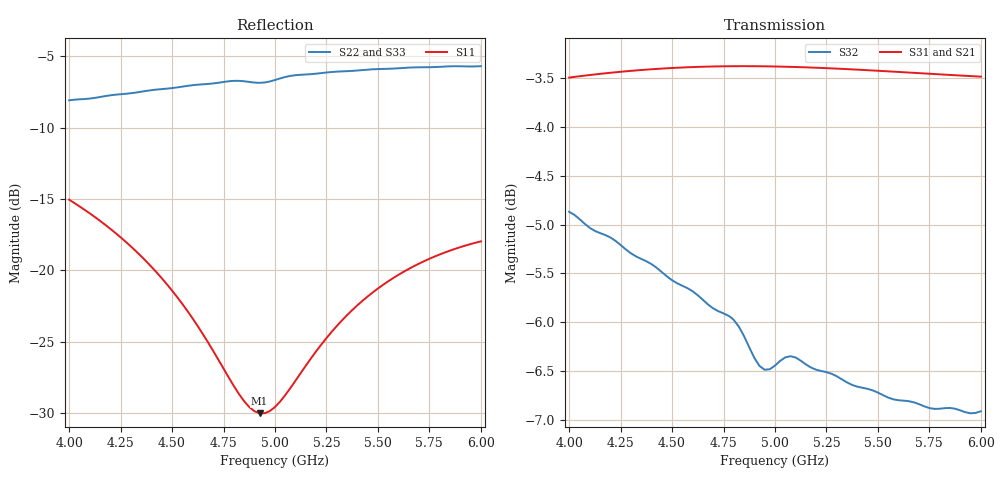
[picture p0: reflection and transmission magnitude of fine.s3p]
! yapnr rf: divider-osh-w-star-guard, footprint re-simulated (refine 2)
! spec sha256 e4db8864f030bccbe07fd0aef6c4ce0263ca7f087c5833f028f36e104ebddd66
! 3 ports renormalized to 50 ohm, e^(+jwt) convention
# GHz S RI R 50
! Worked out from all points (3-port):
!   85 points, 4 GHz to 6 GHz, reference 50 ohm
!   strongest paths, dB at 4 GHz, 4.5 GHz, 5 GHz, 5.5 GHz, 6 GHz:
!     S31: -3.5, -3.4, -3.4, -3.4, -3.5
!     S21: -3.5, -3.4, -3.4, -3.4, -3.5
!     S32: -4.9, -5.6, -6.4, -6.7, -6.9
!   lowest |S11| = -30.0 dB at 4.925 GHz (marker M1), VSWR 1.07, Z = 52.7 - j1.73 ohm
!   |S11| at or under -10 dB: start of sweep to end of sweep
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4  0.0299 0.1742  -0.6466 -0.1721  -0.6466 -0.1721
   -0.6464 -0.1727  0.3243 -0.2233  -0.4423 0.3611
   -0.6464 -0.1727  -0.4423 0.3611  0.3243 -0.2233
4.425  0.0556 0.0812  -0.6732 0.0537  -0.6732 0.0537
       -0.6739 0.0525  0.2067 -0.3764  -0.2525 0.471
       -0.6739 0.0525  -0.2525 0.471  0.2067 -0.3764
4.6  0.0521 0.0435  -0.66 0.1483  -0.66 0.1483
     -0.6612 0.1471  0.1416 -0.4218  -0.1719 0.4906
     -0.6612 0.1471  -0.1719 0.4906  0.1416 -0.4218
4.85  0.0346 -0.00411  -0.6168 0.2783  -0.6168 0.2783
      -0.6188 0.2774  0.0289 -0.4583  -0.0531 0.49
      -0.6188 0.2774  -0.0531 0.49  0.0289 -0.4583
4.925  0.027 -0.0164  -0.5984 0.3152  -0.5984 0.3152
       -0.6007 0.3145  0.00405 -0.4534  -0.0297 0.475
       -0.6007 0.3145  -0.0297 0.475  0.00405 -0.4534
5  0.0186 -0.0276  -0.5778 0.3509  -0.5778 0.3509
   -0.5803 0.3503  -0.0142 -0.4636  -0.0143 0.476
   -0.5803 0.3503  -0.0143 0.476  -0.0142 -0.4636
5.275  -0.0172 -0.0584  -0.4841 0.4685  -0.4841 0.4685
       -0.4872 0.4691  -0.1412 -0.4742  0.0933 0.4622
       -0.4872 0.4691  0.0933 0.4622  -0.1412 -0.4742
5.45  -0.0416 -0.0696  -0.4119 0.5308  -0.4119 0.5308
      -0.4151 0.5322  -0.2161 -0.4556  0.1518 0.4377
      -0.4151 0.5322  0.1518 0.4377  -0.2161 -0.4556
5.7  -0.0743 -0.0751  -0.2954 0.6  -0.2954 0.6
     -0.2983 0.6028  -0.314 -0.4069  0.2272 0.3941
     -0.2983 0.6028  0.2272 0.3941  -0.314 -0.4069
6  -0.1056 -0.0695  -0.1417 0.6501  -0.1417 0.6501
   -0.1433 0.6543  -0.4061 -0.3225  0.3032 0.3341
   -0.1433 0.6543  0.3032 0.3341  -0.4061 -0.3225
